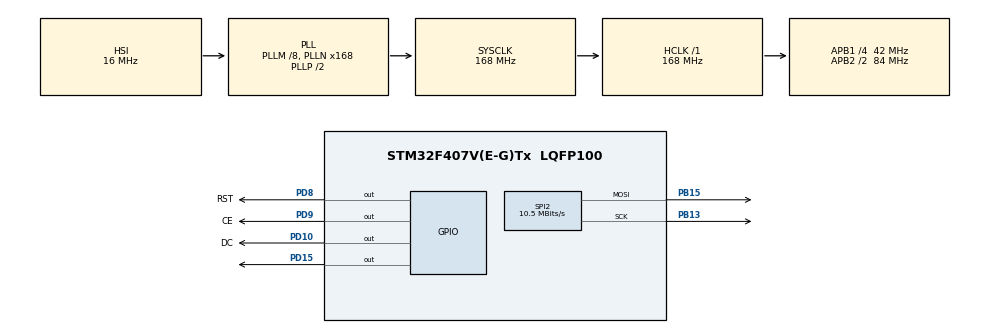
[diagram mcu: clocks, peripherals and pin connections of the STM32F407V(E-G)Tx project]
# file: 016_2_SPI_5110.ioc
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Mcu.Family=STM32F4
Dma.SPI2_TX.0.MemInc=DMA_MINC_ENABLE
PH0-OSC_IN.Signal=RCC_OSC_IN
RCC.CortexFreq_Value=168000000
PD9.GPIO_Label=CE
SPI2.VirtualType=VM_MASTER
PD9.Signal=GPIO_Output
RCC.APB1CLKDivider=RCC_HCLK_DIV4
NVIC.DMA1_Stream4_IRQn=true\:0\:0\:false\:false\:true\:false\:true
PB15.Signal=SPI2_MOSI
PB13.Signal=SPI2_SCK
Dma.SPI2_TX.0.Instance=DMA1_Stream4
RCC.SYSCLKSource=RCC_SYSCLKSOURCE_PLLCLK
ProjectManager.StackSize=0x400
PD8.GPIO_Label=RST
Dma.SPI2_TX.0.MemDataAlignment=DMA_MDATAALIGN_BYTE
PD10.Signal=GPIO_Output
ProjectManager.TargetToolchain=STM32CubeIDE
RCC.HCLKFreq_Value=168000000
RCC.APB2TimFreq_Value=168000000
PD8.Signal=GPIO_Output
Dma.SPI2_TX.0.Mode=DMA_NORMAL
PD10.GPIO_Label=DC
RCC.LSE_VALUE=32768
RCC.AHBFreq_Value=168000000
SPI2.BaudRatePrescaler=SPI_BAUDRATEPRESCALER_4
PH0-OSC_IN.Mode=HSE-External-Oscillator
RCC.HSE_VALUE=8000000
board=custom
RCC.VCOOutputFreq_Value=336000000
PB15.Mode=TX_Only_Simplex_Unidirect_Master
RCC.APB2Freq_Value=84000000
Dma.SPI2_TX.0.PeriphDataAlignment=DMA_PDATAALIGN_BYTE
SPI2.CalculateBaudRate=10.5 MBits/s
PH1-OSC_OUT.Signal=RCC_OSC_OUT
Mcu.Name=STM32F407V(E-G)Tx
Dma.SPI2_TX.0.FIFOMode=DMA_FIFOMODE_DISABLE
PH1-OSC_OUT.Mode=HSE-External-Oscillator
RCC.48MHZClocksFreq_Value=84000000
Dma.SPI2_TX.0.Priority=DMA_PRIORITY_LOW
RCC.SYSCLKFreq_VALUE=168000000
Mcu.Package=LQFP100
SPI2.Mode=SPI_MODE_MASTER
ProjectManager.HeapSize=0x200
RCC.HSI_VALUE=16000000
Dma.SPI2_TX.0.PeriphInc=DMA_PINC_DISABLE
NVIC.PriorityGroup=NVIC_PRIORITYGROUP_4
RCC.APB2CLKDivider=RCC_HCLK_DIV2
RCC.PLLM=8
RCC.PLLN=168
RCC.APB1TimFreq_Value=84000000
SPI2.Direction=SPI_DIRECTION_2LINES
PB13.Mode=TX_Only_Simplex_Unidirect_Master
Dma.SPI2_TX.0.Direction=DMA_MEMORY_TO_PERIPH
RCC.APB1Freq_Value=42000000
Dma.Request0=SPI2_TX
PD15.Signal=GPIO_Output

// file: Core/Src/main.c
/* USER CODE BEGIN Header */
/**
  ******************************************************************************
  * @file           : main.c
  * @brief          : Main program body
  ******************************************************************************
  * @attention
  *
  * <h2><center>&copy; Copyright (c) 2021 STMicroelectronics.
  * All rights reserved.</center></h2>
  *
  * This software component is licensed by ST under BSD 3-Clause license,
  * the "License"; You may not use this file except in compliance with the
  * License. You may obtain a copy of the License at:
  *                        opensource.org/licenses/BSD-3-Clause
  *
  ******************************************************************************
  */
/* USER CODE END Header */
#include "main.h"

/* USER CODE BEGIN Includes */
#include "Nokia5110.h"
/* USER CODE END Includes */

SPI_HandleTypeDef hspi2;
DMA_HandleTypeDef hdma_spi2_tx;

void SystemClock_Config(void);
static void MX_GPIO_Init(void);
static void MX_DMA_Init(void);
static void MX_SPI2_Init(void);

int main(void)
{

  /* MCU Configuration--------------------------------------------------------*/

  /* Reset of all peripherals, Initializes the Flash interface and the Systick. */
  HAL_Init();

  /* Configure the system clock */
  SystemClock_Config();

  /* Initialize all configured peripherals */
  MX_GPIO_Init();
  MX_DMA_Init();
  MX_SPI2_Init();

  /* Infinite loop */
  while (1)
  {

    /* USER CODE BEGIN 3 */

	  Nokia5110_SetPixel(0, 0, 1);
	  Nokia5110_SetPixel(1, 0, 1);
	  Nokia5110_SetPixel(2, 0, 1);
	  Nokia5110_SetPixel(3, 0, 1);
	  Nokia5110_SetPixel(4, 0, 1);
	  Nokia5110_SetPixel(0, 1, 1);
	  Nokia5110_SetPixel(0, 2, 1);
	  Nokia5110_SetPixel(0, 3, 1);
	  Nokia5110_SetPixel(1, 0, 1);
	  Nokia5110_SetPixel(2, 0, 1);
	  Nokia5110_SetPixel(3, 0, 1);
	  Nokia5110_SetPixel(10, 5, 0);
	  Nokia5110_SetPixel(11, 5, 0);
	  Nokia5110_SetPixel(12, 6, 0);
	  Nokia5110_SetPixel(13, 7, 0);
	  Nokia5110_Update();
  }
  /* USER CODE END 3 */
}

void SystemClock_Config(void)
{
  RCC_OscInitTypeDef RCC_OscInitStruct = {0};
  RCC_ClkInitTypeDef RCC_ClkInitStruct = {0};

  /** Configure the main internal regulator output voltage
  */
  __HAL_RCC_PWR_CLK_ENABLE();
  __HAL_PWR_VOLTAGESCALING_CONFIG(PWR_REGULATOR_VOLTAGE_SCALE1);
  /** Initializes the RCC Oscillators according to the specified parameters
  * in the RCC_OscInitTypeDef structure.
  */
  RCC_OscInitStruct.OscillatorType = RCC_OSCILLATORTYPE_HSI;
  RCC_OscInitStruct.HSIState = RCC_HSI_ON;
  RCC_OscInitStruct.HSICalibrationValue = RCC_HSICALIBRATION_DEFAULT;
  RCC_OscInitStruct.PLL.PLLState = RCC_PLL_ON;
  RCC_OscInitStruct.PLL.PLLSource = RCC_PLLSOURCE_HSI;
  RCC_OscInitStruct.PLL.PLLM = 8;
  RCC_OscInitStruct.PLL.PLLN = 168;
  RCC_OscInitStruct.PLL.PLLP = RCC_PLLP_DIV2;
  RCC_OscInitStruct.PLL.PLLQ = 4;
  if (HAL_RCC_OscConfig(&RCC_OscInitStruct) != HAL_OK)
  {
    Error_Handler();
  }
  /** Initializes the CPU, AHB and APB buses clocks
  */
  RCC_ClkInitStruct.ClockType = RCC_CLOCKTYPE_HCLK|RCC_CLOCKTYPE_SYSCLK
                              |RCC_CLOCKTYPE_PCLK1|RCC_CLOCKTYPE_PCLK2;
  RCC_ClkInitStruct.SYSCLKSource = RCC_SYSCLKSOURCE_PLLCLK;
  RCC_ClkInitStruct.AHBCLKDivider = RCC_SYSCLK_DIV1;
  RCC_ClkInitStruct.APB1CLKDivider = RCC_HCLK_DIV4;
  RCC_ClkInitStruct.APB2CLKDivider = RCC_HCLK_DIV2;

  if (HAL_RCC_ClockConfig(&RCC_ClkInitStruct, FLASH_LATENCY_5) != HAL_OK)
  {
    Error_Handler();
  }
}

static void MX_SPI2_Init(void)
{

  /* SPI2 parameter configuration*/
  hspi2.Instance = SPI2;
  hspi2.Init.Mode = SPI_MODE_MASTER;
  hspi2.Init.Direction = SPI_DIRECTION_2LINES;
  hspi2.Init.DataSize = SPI_DATASIZE_8BIT;
  hspi2.Init.CLKPolarity = SPI_POLARITY_LOW;
  hspi2.Init.CLKPhase = SPI_PHASE_1EDGE;
  hspi2.Init.NSS = SPI_NSS_SOFT;
  hspi2.Init.BaudRatePrescaler = SPI_BAUDRATEPRESCALER_4;
  hspi2.Init.FirstBit = SPI_FIRSTBIT_MSB;
  hspi2.Init.TIMode = SPI_TIMODE_DISABLE;
  hspi2.Init.CRCCalculation = SPI_CRCCALCULATION_DISABLE;
  hspi2.Init.CRCPolynomial = 10;
  if (HAL_SPI_Init(&hspi2) != HAL_OK)
  {
    Error_Handler();
  }

}

static void MX_DMA_Init(void)
{

  /* DMA controller clock enable */
  __HAL_RCC_DMA1_CLK_ENABLE();

  /* DMA interrupt init */
  /* DMA1_Stream4_IRQn interrupt configuration */
  HAL_NVIC_SetPriority(DMA1_Stream4_IRQn, 0, 0);
  HAL_NVIC_EnableIRQ(DMA1_Stream4_IRQn);

}

static void MX_GPIO_Init(void)
{
  GPIO_InitTypeDef GPIO_InitStruct = {0};

  /* GPIO Ports Clock Enable */
  __HAL_RCC_GPIOH_CLK_ENABLE();
  __HAL_RCC_GPIOB_CLK_ENABLE();
  __HAL_RCC_GPIOD_CLK_ENABLE();

  /*Configure GPIO pin Output Level */
  HAL_GPIO_WritePin(GPIOD, RST_Pin|CE_Pin|DC_Pin|GPIO_PIN_15, GPIO_PIN_RESET);

  /*Configure GPIO pins : RST_Pin CE_Pin DC_Pin PD15 */
  GPIO_InitStruct.Pin = RST_Pin|CE_Pin|DC_Pin|GPIO_PIN_15;
  GPIO_InitStruct.Mode = GPIO_MODE_OUTPUT_PP;
  GPIO_InitStruct.Pull = GPIO_NOPULL;
  GPIO_InitStruct.Speed = GPIO_SPEED_FREQ_LOW;
  HAL_GPIO_Init(GPIOD, &GPIO_InitStruct);

}

void Error_Handler(void)
{
  __disable_irq();
  while (1)
  {
  }
}

/************************ (C) COPYRIGHT STMicroelectronics *****END OF FILE****/
